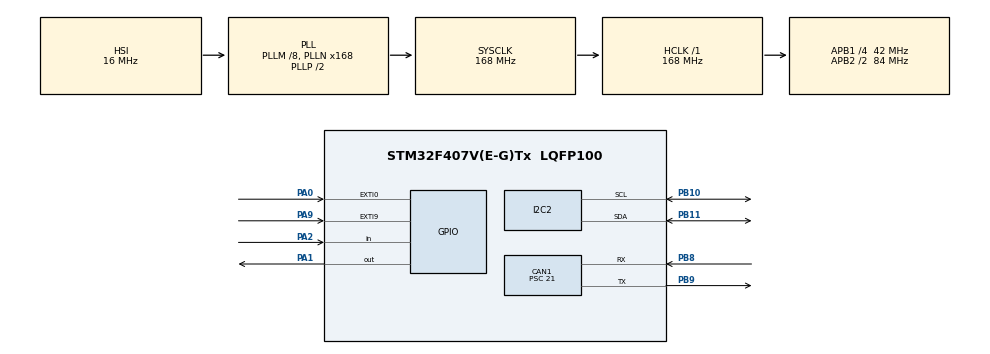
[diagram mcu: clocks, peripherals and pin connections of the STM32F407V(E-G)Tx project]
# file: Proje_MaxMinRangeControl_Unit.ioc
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CAN1.BS1=CAN_BS1_10TQ
CAN1.BS2=CAN_BS2_5TQ
CAN1.CalculateTimeQuantum=500.0
CAN1.Prescaler=21
Mcu.Family=STM32F4
Mcu.Name=STM32F407V(E-G)Tx
Mcu.Package=LQFP100
NVIC.CAN1_RX0_IRQn=true\:1\:0\:true\:false\:true\:true\:true
NVIC.EXTI0_IRQn=true\:2\:0\:true\:false\:true\:true\:true
NVIC.EXTI9_5_IRQn=true\:3\:0\:true\:false\:true\:true\:true
NVIC.PriorityGroup=NVIC_PRIORITYGROUP_4
NVIC.TIM2_IRQn=true\:0\:0\:false\:false\:true\:true\:true
PA0-WKUP.Signal=GPXTI0
PA1.Signal=GPIO_Output
PA2.Signal=GPIO_Input
PA9.Signal=GPXTI9
PB10.Mode=I2C
PB10.Signal=I2C2_SCL
PB11.Mode=I2C
PB11.Signal=I2C2_SDA
PB8.Mode=Master
PB8.Signal=CAN1_RX
PB9.Mode=Master
PB9.Signal=CAN1_TX
PH0-OSC_IN.Mode=HSE-External-Oscillator
PH0-OSC_IN.Signal=RCC_OSC_IN
PH1-OSC_OUT.Mode=HSE-External-Oscillator
PH1-OSC_OUT.Signal=RCC_OSC_OUT
ProjectManager.HeapSize=0x200
ProjectManager.StackSize=0x400
ProjectManager.TargetToolchain=STM32CubeIDE
RCC.48MHZClocksFreq_Value=84000000
RCC.AHBFreq_Value=168000000
RCC.APB1CLKDivider=RCC_HCLK_DIV4
RCC.APB1Freq_Value=42000000
RCC.APB1TimFreq_Value=84000000
RCC.APB2CLKDivider=RCC_HCLK_DIV2
RCC.APB2Freq_Value=84000000
RCC.APB2TimFreq_Value=168000000
RCC.CortexFreq_Value=168000000
RCC.HCLKFreq_Value=168000000
RCC.HSE_VALUE=8000000
RCC.HSI_VALUE=16000000
RCC.LSE_VALUE=32768
RCC.PLLM=8
RCC.PLLN=168
RCC.SYSCLKFreq_VALUE=168000000
RCC.SYSCLKSource=RCC_SYSCLKSOURCE_PLLCLK
RCC.VCOOutputFreq_Value=336000000
TIM2.Period=199
TIM2.Prescaler=41999
VP_TIM2_VS_ClockSourceINT.Mode=Internal
board=custom

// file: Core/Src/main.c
/* USER CODE BEGIN Header */
/**
  ******************************************************************************
  * @file           : main.c
  * @brief          : Main program body
  ******************************************************************************
  * @attention
  *
  * <h2><center>&copy; Copyright (c) 2020 STMicroelectronics.
  * All rights reserved.</center></h2>
  *
  * This software component is licensed by ST under BSD 3-Clause license,
  * the "License"; You may not use this file except in compliance with the
  * License. You may obtain a copy of the License at:
  *                        opensource.org/licenses/BSD-3-Clause
  *
  ******************************************************************************
  */
/* USER CODE END Header */

#include "main.h"

/* USER CODE BEGIN Includes */

#include "i2c_lcd.h"
#include "dwt_stm32_delay.h"
#include "dsp.h"
/* USER CODE END Includes */

CAN_HandleTypeDef hcan1;

I2C_HandleTypeDef hi2c2;

TIM_HandleTypeDef htim2;

/* USER CODE BEGIN PV */

//Can Bus Receive and Transmit config
CAN_TxHeaderTypeDef pTxHeader;
CAN_RxHeaderTypeDef pRxHeader;
CAN_FilterTypeDef sFilterConfig;
uint32_t mTxMailbox;

// Can Receive and Trans Buffer
uint8_t CanTransData[8];
uint8_t CanReceiveData[2];

// Ultrasonic Sensor variable
uint32_t sensor_time;

// LCD buffer
uint32_t buf[10];

// Data Support Package
  MxMinMeasure_t mMeasurement_var = {0};
  MxMinMeasure_t mMaxRange_var = {0};
  MxMinMeasure_t mMinRange_var = {0};

  MxMinMeasure_t* mMeasurement_ptr = &mMeasurement_var;
  MxMinMeasure_t* mMaxRange_ptr = &mMaxRange_var;
  MxMinMeasure_t* mMinRange_ptr = &mMinRange_var;

/* USER CODE END PV */

void SystemClock_Config(void);
static void MX_GPIO_Init(void);
static void MX_CAN1_Init(void);
static void MX_I2C2_Init(void);
static void MX_TIM2_Init(void);
/* USER CODE BEGIN PFP */

uint32_t Read_HCSR04()
{
	uint32_t local_time=0;
	HAL_GPIO_WritePin(GPIOA, GPIO_PIN_1, GPIO_PIN_SET);// Trig Pin set
	DWT_Delay_us(10);
	HAL_GPIO_WritePin(GPIOA, GPIO_PIN_1, GPIO_PIN_RESET);// Finish Trig Pin reset

	while(!(HAL_GPIO_ReadPin(GPIOA, GPIO_PIN_2)));

	while(HAL_GPIO_ReadPin(GPIOA, GPIO_PIN_2))
	{
		 local_time++;
		 DWT_Delay_us(1);
	}
	return local_time*2;
}

void Init_Tx_Can_Config()
{   // Set Transmit parameters
	  pTxHeader.DLC = 8;
	  pTxHeader.IDE = CAN_ID_STD;
	  pTxHeader.RTR = CAN_RTR_DATA;
	  pTxHeader.StdId = 0x01994;// ID of MaxMinRangeControl Message
}

void Init_Filter_Can_Config()
{   // Set Filter Parameters
	sFilterConfig.FilterActivation =ENABLE;
	sFilterConfig.FilterBank = 0;
	sFilterConfig.FilterFIFOAssignment =CAN_FILTER_FIFO0;
	sFilterConfig.FilterIdHigh = 0x0299 << 5; // Id of MotorSpeedControl Message
	sFilterConfig.FilterIdLow = 0x0000;
	sFilterConfig.FilterMaskIdHigh = 0xFFFF;
	//sFilterConfig.FilterMaskIdHigh = 0x0000;
	sFilterConfig.FilterMaskIdLow = 0x0000;
	sFilterConfig.FilterMode = CAN_FILTERMODE_IDMASK;
	sFilterConfig.FilterScale = CAN_FILTERSCALE_32BIT;
	HAL_CAN_ConfigFilter(&hcan1, &sFilterConfig);

}

/* USER CODE END PFP */

/* USER CODE BEGIN 0 */

//In every 0.1 seconds the TIM2 trigger interrupt
void HAL_TIM_PeriodElapsedCallback(TIM_HandleTypeDef *htim)
{

	  sensor_time = Read_HCSR04();

	  mMeasurement_ptr->id =70; // id of the Measurement Message
	  mMaxRange_ptr->id = 80;   // id of MaxRange Message
	  mMinRange_ptr->id = 90;   // id of MinRange Message

	  mMeasurement_ptr->data = sensor_time * .034/2;

	  CanTransData[0] = mMeasurement_ptr->id;
	  CanTransData[1] = mMeasurement_ptr->data;

	  CanTransData[2] = mMaxRange_ptr->id;
	  CanTransData[3] = mMaxRange_ptr->data;

	  CanTransData[4] = mMinRange_ptr->id;
	  CanTransData[5] = mMinRange_ptr->data;

	  HAL_CAN_AddTxMessage(&hcan1, &pTxHeader, CanTransData, &mTxMailbox);

}

/* USER CODE END 0 */

int main(void)
{

  /* MCU Configuration--------------------------------------------------------*/

  /* Reset of all peripherals, Initializes the Flash interface and the Systick. */
  HAL_Init();

  /* USER CODE BEGIN Init */
  DWT_Delay_Init();
  /* USER CODE END Init */

  /* Configure the system clock */
  SystemClock_Config();

  /* Initialize all configured peripherals */
  MX_GPIO_Init();
  MX_CAN1_Init();
  MX_I2C2_Init();
  MX_TIM2_Init();
  /* USER CODE BEGIN 2 */
  HAL_CAN_ActivateNotification(&hcan1, CAN_IT_RX_FIFO0_MSG_PENDING);

  lcd_init();
  lcd_clear();
  lcd_put_cur(0, 0);
  lcd_send_string("MaxMinRangeCon");
  HAL_Delay(2000);

  //CAN BUS CONFIG
  Init_Tx_Can_Config();
  Init_Filter_Can_Config();
  HAL_CAN_Start(&hcan1);

  // Start Timer2 for counter 0.05 sn
  HAL_TIM_Base_Start_IT(&htim2);

  MotorSpeed_t mMotorSpeed;

  /* USER CODE END 2 */

  /* Infinite loop */
  while (1)
  {

    /* USER CODE BEGIN 3 */
 /*
	 sensor_time = Read_HCSR04();
	 distance[1] = sensor_time * .034/2;
	 distance[0] =3;
	 HAL_CAN_AddTxMessage(&hcan1, &pTxHeader, distance, &mTxMailbox);
	 HAL_Delay(100);
*/

      mMotorSpeed.id  = CanReceiveData[0];
	  mMotorSpeed.data = CanReceiveData[1];

	  lcd_clear();
	  lcd_put_cur(0, 1);
	  sprintf(buf,"id: %d",mMotorSpeed.id);
	  lcd_send_string(buf);
	  lcd_put_cur(1, 1);
	  sprintf(buf,"Speed: %d",mMotorSpeed.data);
	  lcd_send_string(buf);
	  HAL_Delay(1000);

  }
  /* USER CODE END 3 */
}

void SystemClock_Config(void)
{
  RCC_OscInitTypeDef RCC_OscInitStruct = {0};
  RCC_ClkInitTypeDef RCC_ClkInitStruct = {0};

  /** Configure the main internal regulator output voltage
  */
  __HAL_RCC_PWR_CLK_ENABLE();
  __HAL_PWR_VOLTAGESCALING_CONFIG(PWR_REGULATOR_VOLTAGE_SCALE1);
  /** Initializes the CPU, AHB and APB busses clocks
  */
  RCC_OscInitStruct.OscillatorType = RCC_OSCILLATORTYPE_HSI;
  RCC_OscInitStruct.HSIState = RCC_HSI_ON;
  RCC_OscInitStruct.HSICalibrationValue = RCC_HSICALIBRATION_DEFAULT;
  RCC_OscInitStruct.PLL.PLLState = RCC_PLL_ON;
  RCC_OscInitStruct.PLL.PLLSource = RCC_PLLSOURCE_HSI;
  RCC_OscInitStruct.PLL.PLLM = 8;
  RCC_OscInitStruct.PLL.PLLN = 168;
  RCC_OscInitStruct.PLL.PLLP = RCC_PLLP_DIV2;
  RCC_OscInitStruct.PLL.PLLQ = 4;
  if (HAL_RCC_OscConfig(&RCC_OscInitStruct) != HAL_OK)
  {
    Error_Handler();
  }
  /** Initializes the CPU, AHB and APB busses clocks
  */
  RCC_ClkInitStruct.ClockType = RCC_CLOCKTYPE_HCLK|RCC_CLOCKTYPE_SYSCLK
                              |RCC_CLOCKTYPE_PCLK1|RCC_CLOCKTYPE_PCLK2;
  RCC_ClkInitStruct.SYSCLKSource = RCC_SYSCLKSOURCE_PLLCLK;
  RCC_ClkInitStruct.AHBCLKDivider = RCC_SYSCLK_DIV1;
  RCC_ClkInitStruct.APB1CLKDivider = RCC_HCLK_DIV4;
  RCC_ClkInitStruct.APB2CLKDivider = RCC_HCLK_DIV2;

  if (HAL_RCC_ClockConfig(&RCC_ClkInitStruct, FLASH_LATENCY_5) != HAL_OK)
  {
    Error_Handler();
  }
}

static void MX_CAN1_Init(void)
{

  hcan1.Instance = CAN1;
  hcan1.Init.Prescaler = 21;
  hcan1.Init.Mode = CAN_MODE_NORMAL;
  hcan1.Init.SyncJumpWidth = CAN_SJW_1TQ;
  hcan1.Init.TimeSeg1 = CAN_BS1_10TQ;
  hcan1.Init.TimeSeg2 = CAN_BS2_5TQ;
  hcan1.Init.TimeTriggeredMode = DISABLE;
  hcan1.Init.AutoBusOff = DISABLE;
  hcan1.Init.AutoWakeUp = DISABLE;
  hcan1.Init.AutoRetransmission = DISABLE;
  hcan1.Init.ReceiveFifoLocked = DISABLE;
  hcan1.Init.TransmitFifoPriority = DISABLE;
  if (HAL_CAN_Init(&hcan1) != HAL_OK)
  {
    Error_Handler();
  }

}

static void MX_I2C2_Init(void)
{

  hi2c2.Instance = I2C2;
  hi2c2.Init.ClockSpeed = 100000;
  hi2c2.Init.DutyCycle = I2C_DUTYCYCLE_2;
  hi2c2.Init.OwnAddress1 = 0;
  hi2c2.Init.AddressingMode = I2C_ADDRESSINGMODE_7BIT;
  hi2c2.Init.DualAddressMode = I2C_DUALADDRESS_DISABLE;
  hi2c2.Init.OwnAddress2 = 0;
  hi2c2.Init.GeneralCallMode = I2C_GENERALCALL_DISABLE;
  hi2c2.Init.NoStretchMode = I2C_NOSTRETCH_DISABLE;
  if (HAL_I2C_Init(&hi2c2) != HAL_OK)
  {
    Error_Handler();
  }

}

static void MX_TIM2_Init(void)
{

  TIM_ClockConfigTypeDef sClockSourceConfig = {0};
  TIM_MasterConfigTypeDef sMasterConfig = {0};

  htim2.Instance = TIM2;
  htim2.Init.Prescaler = 41999;
  htim2.Init.CounterMode = TIM_COUNTERMODE_UP;
  htim2.Init.Period = 199;
  htim2.Init.ClockDivision = TIM_CLOCKDIVISION_DIV1;
  htim2.Init.AutoReloadPreload = TIM_AUTORELOAD_PRELOAD_DISABLE;
  if (HAL_TIM_Base_Init(&htim2) != HAL_OK)
  {
    Error_Handler();
  }
  sClockSourceConfig.ClockSource = TIM_CLOCKSOURCE_INTERNAL;
  if (HAL_TIM_ConfigClockSource(&htim2, &sClockSourceConfig) != HAL_OK)
  {
    Error_Handler();
  }
  sMasterConfig.MasterOutputTrigger = TIM_TRGO_RESET;
  sMasterConfig.MasterSlaveMode = TIM_MASTERSLAVEMODE_DISABLE;
  if (HAL_TIMEx_MasterConfigSynchronization(&htim2, &sMasterConfig) != HAL_OK)
  {
    Error_Handler();
  }

}

static void MX_GPIO_Init(void)
{
  GPIO_InitTypeDef GPIO_InitStruct = {0};

  /* GPIO Ports Clock Enable */
  __HAL_RCC_GPIOH_CLK_ENABLE();
  __HAL_RCC_GPIOA_CLK_ENABLE();
  __HAL_RCC_GPIOB_CLK_ENABLE();

  /*Configure GPIO pin Output Level */
  HAL_GPIO_WritePin(GPIOA, GPIO_PIN_1, GPIO_PIN_RESET);

  /*Configure GPIO pins : PA0 PA9 */
  GPIO_InitStruct.Pin = GPIO_PIN_0|GPIO_PIN_9;
  GPIO_InitStruct.Mode = GPIO_MODE_IT_RISING;
  GPIO_InitStruct.Pull = GPIO_NOPULL;
  HAL_GPIO_Init(GPIOA, &GPIO_InitStruct);

  /*Configure GPIO pin : PA1 */
  GPIO_InitStruct.Pin = GPIO_PIN_1;
  GPIO_InitStruct.Mode = GPIO_MODE_OUTPUT_PP;
  GPIO_InitStruct.Pull = GPIO_NOPULL;
  GPIO_InitStruct.Speed = GPIO_SPEED_FREQ_LOW;
  HAL_GPIO_Init(GPIOA, &GPIO_InitStruct);

  /*Configure GPIO pin : PA2 */
  GPIO_InitStruct.Pin = GPIO_PIN_2;
  GPIO_InitStruct.Mode = GPIO_MODE_INPUT;
  GPIO_InitStruct.Pull = GPIO_NOPULL;
  HAL_GPIO_Init(GPIOA, &GPIO_InitStruct);

  /* EXTI interrupt init*/
  HAL_NVIC_SetPriority(EXTI0_IRQn, 2, 0);
  HAL_NVIC_EnableIRQ(EXTI0_IRQn);

  HAL_NVIC_SetPriority(EXTI9_5_IRQn, 3, 0);
  HAL_NVIC_EnableIRQ(EXTI9_5_IRQn);

}

void Error_Handler(void)
{
}

/************************ (C) COPYRIGHT STMicroelectronics *****END OF FILE****/
